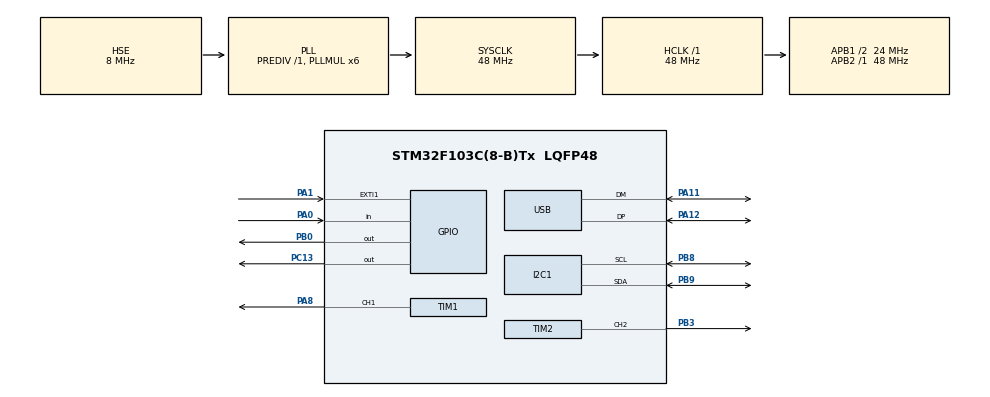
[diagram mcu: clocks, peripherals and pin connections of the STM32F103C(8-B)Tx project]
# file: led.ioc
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Mcu.Family=STM32F1
Mcu.Name=STM32F103C(8-B)Tx
Mcu.Package=LQFP48
NVIC.PriorityGroup=NVIC_PRIORITYGROUP_4
NVIC.TIM2_IRQn=true\:0\:0\:false\:false\:true\:true\:true\:true
NVIC.USB_LP_CAN1_RX0_IRQn=true\:0\:0\:false\:false\:true\:false\:true\:true
PA0-WKUP.GPIO_PuPd=GPIO_PULLUP
PA0-WKUP.Signal=GPIO_Input
PA1.Signal=GPXTI1
PA11.Mode=Device
PA11.Signal=USB_DM
PA12.Mode=Device
PA12.Signal=USB_DP
PA13.Mode=Serial_Wire
PA13.Signal=SYS_JTMS-SWDIO
PA14.Mode=Serial_Wire
PA14.Signal=SYS_JTCK-SWCLK
PA8.Signal=S_TIM1_CH1
PB0.PinState=GPIO_PIN_SET
PB0.Signal=GPIO_Output
PB3.Signal=S_TIM2_CH2
PB8.Mode=I2C
PB8.Signal=I2C1_SCL
PB9.Mode=I2C
PB9.Signal=I2C1_SDA
PC13-TAMPER-RTC.Signal=GPIO_Output
PD0-OSC_IN.Mode=HSE-External-Oscillator
PD0-OSC_IN.Signal=RCC_OSC_IN
PD1-OSC_OUT.Mode=HSE-External-Oscillator
PD1-OSC_OUT.Signal=RCC_OSC_OUT
ProjectManager.HeapSize=0x200
ProjectManager.StackSize=0x400
ProjectManager.TargetToolchain=CMake
RCC.AHBFreq_Value=48000000
RCC.APB1CLKDivider=RCC_HCLK_DIV2
RCC.APB1Freq_Value=24000000
RCC.APB1TimFreq_Value=48000000
RCC.APB2Freq_Value=48000000
RCC.APB2TimFreq_Value=48000000
RCC.HCLKFreq_Value=48000000
RCC.PLLMUL=RCC_PLL_MUL6
RCC.PLLSourceVirtual=RCC_PLLSOURCE_HSE
RCC.SYSCLKFreq_VALUE=48000000
RCC.SYSCLKSource=RCC_SYSCLKSOURCE_PLLCLK
RCC.USBFreq_Value=48000000
SH.S_TIM1_CH1.0=TIM1_CH1,PWM Generation1 CH1
SH.S_TIM2_CH2.0=TIM2_CH2,PWM Generation2 CH2
TIM1.Channel-PWM\ Generation1\ CH1=TIM_CHANNEL_1
TIM1.Period=19999
TIM1.Prescaler=71
TIM2.Channel-PWM\ Generation2\ CH2=TIM_CHANNEL_2
TIM2.Period=19999
TIM2.Prescaler=71
USB_DEVICE.CLASS_NAME_FS=CDC
USB_DEVICE.VirtualMode=Cdc
USB_DEVICE.VirtualModeFS=Cdc_FS
VP_USB_DEVICE_VS_USB_DEVICE_CDC_FS.Mode=CDC_FS
board=custom

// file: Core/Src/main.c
/* USER CODE BEGIN Header */
/**
 ******************************************************************************
 * @file           : main.c
 * @brief          : Main program body
 ******************************************************************************
 * @attention
 *
 * Copyright (c) 2026 STMicroelectronics.
 * All rights reserved.
 *
 * This software is licensed under terms that can be found in the LICENSE file
 * in the root directory of this software component.
 * If no LICENSE file comes with this software, it is provided AS-IS.
 *
 ******************************************************************************
 */
/* USER CODE END Header */
#include "main.h"
#include "i2c.h"
#include "tim.h"
#include "usb_device.h"
#include "gpio.h"

/* USER CODE BEGIN Includes */
#include "usbd_cdc_if.h"
#include "oled.h"
#include "servo.h"
#include "uart_pic_recv.h"

#define PIC_LEN 1024
uint8_t pic_buf[PIC_LEN];
uint16_t pic_cnt = 0;

UartPicHandle_t hPicRecv;

#define FRAME_TIMEOUT 500

extern USBD_HandleTypeDef hUsbDeviceFS;

enum {
    WAIT_AA,
    WAIT_55,
    RECV_DATA,
    WAIT_BB,
    WAIT_CC
} recv_state = WAIT_AA;

uint16_t data_idx = 0;
uint32_t recv_tick = 0;

// extern uint8_t pic_recv_ok_flag = 0;

/* USER CODE END Includes */

void SystemClock_Config(void);

int main(void)
{

  /* MCU Configuration--------------------------------------------------------*/

  /* Reset of all peripherals, Initializes the Flash interface and the Systick. */
  HAL_Init();

  /* Configure the system clock */
  SystemClock_Config();

  /* Initialize all configured peripherals */
  MX_GPIO_Init();
  MX_TIM2_Init();
  MX_TIM1_Init();
  MX_USB_DEVICE_Init();
  HAL_Delay(1000);
  MX_I2C1_Init();
  HAL_Delay(1000);

  /* USER CODE BEGIN 2 */

  SSD1306_Init();
  SSD1306_DrawPoint(20,20,1);
  SSD1306_DrawPoint(80,40,1);
  SSD1306_DrawPoint(60,40,1);
  SSD1306_Refresh();

  while (1)
{
    uint8_t ch;
    if(CDC_FIFO_Read(&ch))
    {
        HAL_GPIO_TogglePin(GPIOC, GPIO_PIN_13);
        recv_tick = HAL_GetTick();
        switch(recv_state)
        {
            case WAIT_AA:
                if(ch == 0xAA)
                {
                    recv_state = WAIT_55;
                }
                break;
            case WAIT_55:
                if(ch == 0x55)
                {
                    recv_state = RECV_DATA;
                    data_idx = 0;
                }
                else
                {
                    recv_state = WAIT_AA;
                }
                break;
            case RECV_DATA:
                pic_buf[data_idx++] = ch;
                if(data_idx >= PIC_LEN)
                {
                    recv_state = WAIT_BB;
                }
                break;
            case WAIT_BB:
                if(ch == 0xBB)
                {
                    recv_state = WAIT_CC;
                }
                else
                {
                    recv_state = WAIT_AA;
                }
                break;
            case WAIT_CC:
                if(ch == 0xCC)
                {
                    // 刷新屏幕
                    memcpy(ssd1306_buf, pic_buf, PIC_LEN);
                    SSD1306_Refresh();
                    // ✅ 刷完一帧，回复应答 "OK"，通知电脑可以发下一帧
                    uint8_t ack[] = "OK";
                    USB_CDC_SendData(ack, 2);
                }
                recv_state = WAIT_AA;
                break;
            default:
                recv_state = WAIT_AA;
                break;
        }
    }

    // 超时复位，卡住自动恢复
    if( (HAL_GetTick() - recv_tick) > FRAME_TIMEOUT )
    {
        recv_state = WAIT_AA;
        data_idx = 0;
    }
}

  /* USER CODE END 3 */
}

void SystemClock_Config(void)
{
  RCC_OscInitTypeDef RCC_OscInitStruct = {0};
  RCC_ClkInitTypeDef RCC_ClkInitStruct = {0};
  RCC_PeriphCLKInitTypeDef PeriphClkInit = {0};

  /** Initializes the RCC Oscillators according to the specified parameters
  * in the RCC_OscInitTypeDef structure.
  */
  RCC_OscInitStruct.OscillatorType = RCC_OSCILLATORTYPE_HSE;
  RCC_OscInitStruct.HSEState = RCC_HSE_ON;
  RCC_OscInitStruct.HSEPredivValue = RCC_HSE_PREDIV_DIV1;
  RCC_OscInitStruct.HSIState = RCC_HSI_ON;
  RCC_OscInitStruct.PLL.PLLState = RCC_PLL_ON;
  RCC_OscInitStruct.PLL.PLLSource = RCC_PLLSOURCE_HSE;
  RCC_OscInitStruct.PLL.PLLMUL = RCC_PLL_MUL6;
  if (HAL_RCC_OscConfig(&RCC_OscInitStruct) != HAL_OK)
  {
    Error_Handler();
  }

  /** Initializes the CPU, AHB and APB buses clocks
  */
  RCC_ClkInitStruct.ClockType = RCC_CLOCKTYPE_HCLK|RCC_CLOCKTYPE_SYSCLK
                              |RCC_CLOCKTYPE_PCLK1|RCC_CLOCKTYPE_PCLK2;
  RCC_ClkInitStruct.SYSCLKSource = RCC_SYSCLKSOURCE_PLLCLK;
  RCC_ClkInitStruct.AHBCLKDivider = RCC_SYSCLK_DIV1;
  RCC_ClkInitStruct.APB1CLKDivider = RCC_HCLK_DIV2;
  RCC_ClkInitStruct.APB2CLKDivider = RCC_HCLK_DIV1;

  if (HAL_RCC_ClockConfig(&RCC_ClkInitStruct, FLASH_LATENCY_1) != HAL_OK)
  {
    Error_Handler();
  }
  PeriphClkInit.PeriphClockSelection = RCC_PERIPHCLK_USB;
  PeriphClkInit.UsbClockSelection = RCC_USBCLKSOURCE_PLL;
  if (HAL_RCCEx_PeriphCLKConfig(&PeriphClkInit) != HAL_OK)
  {
    Error_Handler();
  }
}

void Error_Handler(void)
{
  __disable_irq();
  while (1) {
  }
}
